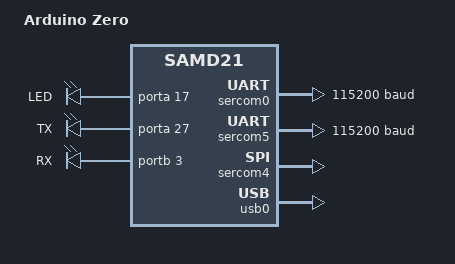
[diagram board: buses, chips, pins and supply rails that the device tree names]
/*
 * Copyright (c) 2017 Google LLC.
 *
 * SPDX-License-Identifier: Apache-2.0
 */

/dts-v1/;
#include <atmel/samd21.dtsi>

/ {
	model = "Arduino Zero";
	compatible = "arduino,zero", "atmel,samd21g18a", "atmel,samd21";

	chosen {
		zephyr,console = &sercom5;
		zephyr,shell-uart = &sercom5;
		zephyr,sram = &sram0;
		zephyr,flash = &flash0;
	};

	/* These aliases are provided for compatibility with samples */
	aliases {
		led0 = &led0;
		led1 = &led1;
		led2 = &led2;
	};

	leds {
		compatible = "gpio-leds";
		led0: led_0 {
			gpios = <&porta 17 0>;
			label = "LED";
		};
		led1: led_1 {
			gpios = <&porta 27 0>;
			label = "TX";
		};
		led2: led_2 {
			gpios = <&portb 3 0>;
			label = "RX";
		};
	};

};

&cpu0 {
	clock-frequency = <48000000>;
};

&sercom0 {
	status = "okay";
	compatible = "atmel,sam0-uart";
	current-speed = <115200>;
	rxpo = <3>;
	txpo = <1>;
};

&sercom5 {
	status = "okay";
	compatible = "atmel,sam0-uart";
	current-speed = <115200>;
	rxpo = <3>;
	txpo = <1>;
};

&sercom4 {
	status = "okay";
	compatible = "atmel,sam0-spi";
	dipo = <0>;
	dopo = <1>;
	#address-cells = <1>;
	#size-cells = <0>;
};

&flash0 {
	partitions {
		compatible = "fixed-partitions";
		#address-cells = <1>;
		#size-cells = <1>;

		/*
		 * The final 16 KiB is reserved for the application
		 * and is used by NFFS if enabled.
		 */
		storage_partition: partition@3c000 {
			label = "storage";
			reg = <0x0003c000 0x00004000>;
		};
	};
};

&usb0 {
	status = "okay";
};
